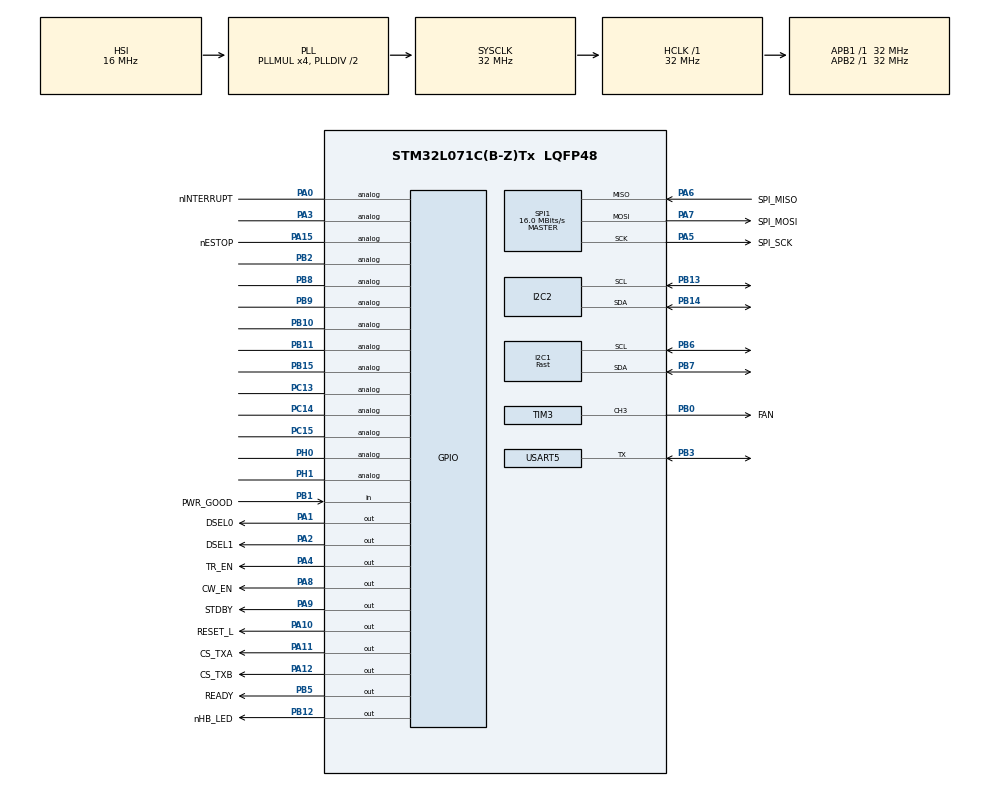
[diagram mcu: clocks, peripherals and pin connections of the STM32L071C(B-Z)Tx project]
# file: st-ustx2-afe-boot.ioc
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CRC.CRCLength=CRC_POLYLENGTH_16B
CRC.DefaultInitValueUse=DEFAULT_INIT_VALUE_DISABLE
CRC.DefaultPolynomialUse=DEFAULT_POLYNOMIAL_DISABLE
CRC.GeneratingPolynomial=X12+X5+X0
CRC.InitValue=0xFFFF
Dma.Request0=USART5_RX
Dma.Request1=USART5_TX
Dma.USART5_RX.0.Direction=DMA_PERIPH_TO_MEMORY
Dma.USART5_RX.0.Instance=DMA1_Channel2
Dma.USART5_RX.0.MemDataAlignment=DMA_MDATAALIGN_BYTE
Dma.USART5_RX.0.MemInc=DMA_MINC_ENABLE
Dma.USART5_RX.0.Mode=DMA_NORMAL
Dma.USART5_RX.0.PeriphDataAlignment=DMA_PDATAALIGN_BYTE
Dma.USART5_RX.0.PeriphInc=DMA_PINC_DISABLE
Dma.USART5_RX.0.Priority=DMA_PRIORITY_LOW
Dma.USART5_TX.1.Direction=DMA_MEMORY_TO_PERIPH
Dma.USART5_TX.1.Instance=DMA1_Channel3
Dma.USART5_TX.1.MemDataAlignment=DMA_MDATAALIGN_BYTE
Dma.USART5_TX.1.MemInc=DMA_MINC_ENABLE
Dma.USART5_TX.1.Mode=DMA_NORMAL
Dma.USART5_TX.1.PeriphDataAlignment=DMA_PDATAALIGN_BYTE
Dma.USART5_TX.1.PeriphInc=DMA_PINC_DISABLE
Dma.USART5_TX.1.Priority=DMA_PRIORITY_LOW
I2C1.GeneralCallMode=I2C_GENERALCALL_DISABLE
I2C1.I2C_Speed_Mode=I2C_Fast
I2C1.NoStretchMode=I2C_NOSTRETCH_ENABLE
I2C1.OwnAddress=0x34
I2C1.Timing=0x00300F38
I2C2.NoStretchMode=I2C_NOSTRETCH_ENABLE
I2C2.OwnAddress=0x32
I2C2.Timing=0x00707CBB
Mcu.Family=STM32L0
Mcu.Name=STM32L071C(B-Z)Tx
Mcu.Package=LQFP48
NVIC.DMA1_Channel2_3_IRQn=true\:0\:0\:false\:false\:true\:false\:true\:true
NVIC.I2C1_IRQn=true\:0\:0\:false\:false\:true\:true\:true\:true
NVIC.I2C2_IRQn=true\:0\:0\:false\:false\:true\:true\:true\:true
NVIC.TIM2_IRQn=true\:3\:0\:false\:false\:true\:false\:true\:true
NVIC.TimeBase=TIM2_IRQn
NVIC.TimeBaseIP=TIM2
NVIC.USART4_5_IRQn=true\:0\:0\:false\:false\:true\:true\:true\:true
PA0.GPIO_Label=nINTERRUPT
PA0.Signal=GPIO_Analog
PA1.GPIO_Label=DSEL0
PA1.Signal=GPIO_Output
PA10.GPIO_Label=RESET_L
PA10.Signal=GPIO_Output
PA11.GPIO_Label=CS_TXA
PA11.Signal=GPIO_Output
PA12.GPIO_Label=CS_TXB
PA12.Signal=GPIO_Output
PA13.Mode=Serial_Wire
PA13.Signal=SYS_SWDIO
PA14.Mode=Serial_Wire
PA14.Signal=SYS_SWCLK
PA15.GPIO_Label=nESTOP
PA15.Signal=GPIO_Analog
PA2.GPIO_Label=DSEL1
PA2.Signal=GPIO_Output
PA3.Signal=GPIO_Analog
PA4.GPIO_Label=TR_EN
PA4.Signal=GPIO_Output
PA5.GPIO_Label=SPI_SCK
PA5.Mode=Full_Duplex_Master
PA5.Signal=SPI1_SCK
PA6.GPIO_Label=SPI_MISO
PA6.Mode=Full_Duplex_Master
PA6.Signal=SPI1_MISO
PA7.GPIO_Label=SPI_MOSI
PA7.Mode=Full_Duplex_Master
PA7.Signal=SPI1_MOSI
PA8.GPIO_Label=CW_EN
PA8.Signal=GPIO_Output
PA9.GPIO_Label=STDBY
PA9.Signal=GPIO_Output
PB0.GPIO_Label=FAN
PB0.Signal=S_TIM3_CH3
PB1.GPIO_Label=PWR_GOOD
PB1.Signal=GPIO_Input
PB10.Signal=GPIO_Analog
PB11.Signal=GPIO_Analog
PB12.GPIO_Label=nHB_LED
PB12.Signal=GPIO_Output
PB13.Mode=I2C
PB13.Signal=I2C2_SCL
PB14.Mode=I2C
PB14.Signal=I2C2_SDA
PB15.Signal=GPIO_Analog
PB2.Signal=GPIO_Analog
PB3.Mode=Half_duplex(single_wire_mode)
PB3.Signal=USART5_TX
PB4.Signal=S_TIM22_CH1
PB5.GPIO_Label=READY
PB5.Signal=GPIO_Output
PB6.Mode=I2C
PB6.Signal=I2C1_SCL
PB7.Mode=I2C
PB7.Signal=I2C1_SDA
PB8.Signal=GPIO_Analog
PB9.Signal=GPIO_Analog
PC13.Signal=GPIO_Analog
PC14-OSC32_IN.Signal=GPIO_Analog
PC15-OSC32_OUT.Signal=GPIO_Analog
PH0-OSC_IN.Signal=GPIO_Analog
PH1-OSC_OUT.Signal=GPIO_Analog
ProjectManager.HeapSize=0x200
ProjectManager.StackSize=0x400
ProjectManager.TargetToolchain=STM32CubeIDE
RCC.AHBFreq_Value=32000000
RCC.APB1Freq_Value=32000000
RCC.APB1TimFreq_Value=32000000
RCC.APB2Freq_Value=32000000
RCC.APB2TimFreq_Value=32000000
RCC.HCLKFreq_Value=32000000
RCC.HSE_VALUE=8000000
RCC.HSI16_VALUE=16000000
RCC.HSI_VALUE=16000000
RCC.LSE_VALUE=32768
RCC.MSI_VALUE=2097000
RCC.PLLMUL=RCC_PLLMUL_4
RCC.SYSCLKFreq_VALUE=32000000
RCC.SYSCLKSource=RCC_SYSCLKSOURCE_PLLCLK
RCC.VCOOutputFreq_Value=64000000
SH.S_TIM22_CH1.0=TIM22_CH1
SH.S_TIM3_CH3.0=TIM3_CH3,PWM Generation3 CH3
SPI1.CalculateBaudRate=16.0 MBits/s
SPI1.Direction=SPI_DIRECTION_2LINES
SPI1.Mode=SPI_MODE_MASTER
SPI1.VirtualType=VM_MASTER
TIM3.Channel-PWM\ Generation3\ CH3=TIM_CHANNEL_3
USART5.VirtualMode-Half_duplex(single_wire_mode)=VM_ASYNC
VP_CRC_VS_CRC.Mode=CRC_Activate
VP_RTC_VS_RTC_Activate.Mode=RTC_Enabled
VP_SYS_VS_tim2.Mode=TIM2
VP_TIM21_VS_ClockSourceINT.Mode=Internal
board=custom

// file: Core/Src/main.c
/* USER CODE BEGIN Header */
/**
  ******************************************************************************
  * @file           : main.c
  * @brief          : Main program body
  ******************************************************************************
  * @attention
  *
  * Copyright (c) 2024 STMicroelectronics.
  * All rights reserved.
  *
  * This software is licensed under terms that can be found in the LICENSE file
  * in the root directory of this software component.
  * If no LICENSE file comes with this software, it is provided AS-IS.
  *
  ******************************************************************************
  */
/* USER CODE END Header */
#include "main.h"

/* USER CODE BEGIN Includes */
#include "memory_map.h"
#include "flash_eeprom.h"
#include "utils.h"
#include "i2c_slave.h"
#include "../../version.h"
#include <stdio.h>
#include <string.h>
#include <stdlib.h>

/* USER CODE END Includes */

/* USER CODE BEGIN PD */
#define SOFT_RESET_INDICATOR  	0xB00710AD

#ifdef __GNUC__
	/* With GCC/RAISONANCE, small printf (option LD Linker->Libraries->Small printf
		 set to 'Yes') calls __io_putchar() */
	#define PUTCHAR_PROTOTYPE int __io_putchar(int ch)
#else
	#define PUTCHAR_PROTOTYPE int fputc(int ch, FILE *f)
#endif /* __GNUC__ */

// Function pointer type for the application's reset vector

typedef  void (*pFunction)(void);
pFunction Jump_To_Application;
uint32_t JumpAddress;

/* USER CODE END PD */

CRC_HandleTypeDef hcrc;

I2C_HandleTypeDef hi2c1;
I2C_HandleTypeDef hi2c2;

RTC_HandleTypeDef hrtc;

SPI_HandleTypeDef hspi1;

TIM_HandleTypeDef htim3;
TIM_HandleTypeDef htim21;

UART_HandleTypeDef huart5;
DMA_HandleTypeDef hdma_usart5_rx;
DMA_HandleTypeDef hdma_usart5_tx;

void SystemClock_Config(void);
static void MX_GPIO_Init(void);
static void MX_DMA_Init(void);
static void MX_I2C2_Init(void);
static void MX_SPI1_Init(void);
static void MX_USART5_UART_Init(void);
static void MX_TIM3_Init(void);
static void MX_I2C1_Init(void);
static void MX_CRC_Init(void);
static void MX_TIM21_Init(void);
static void MX_RTC_Init(void);
/* USER CODE BEGIN PFP */

PUTCHAR_PROTOTYPE
{
	HAL_UART_Transmit(&huart5, (uint8_t *)&ch, 1, 0x0f);

  return ch;
}

void storeSoftResetIndicator() {
    HAL_PWR_EnableBkUpAccess();
    HAL_RTCEx_BKUPWrite(&hrtc, RTC_BKP_DR1, SOFT_RESET_INDICATOR);
}

void clearSoftResetIndicator() {
    HAL_PWR_EnableBkUpAccess();
    HAL_RTCEx_BKUPWrite(&hrtc, RTC_BKP_DR1, 0x0);
}

unsigned int readSoftResetIndicator() {
    return HAL_RTCEx_BKUPRead(&hrtc, RTC_BKP_DR1);
}

// Define a function to check if the application is valid
uint8_t IsApplicationValid(uint32_t address) {
    // Check if the first word of the application code is a valid stack pointer
    uint32_t stack_pointer = *(__IO uint32_t*) address;
    if (stack_pointer < SRAM_BASE_ADDRESS || stack_pointer > SRAM_BASE_ADDRESS + SRAM_SIZE) {
        return 0; // Invalid stack pointer
    }

    // Check if the second word of the application code is a valid reset handler address
    uint32_t reset_handler = *(__IO uint32_t*) (address + 4);
    if (reset_handler < FLASH_BASE || reset_handler > FLASH_BASE + FLASH_SIZE) {
        return 0; // Invalid reset handler address
    }

    return 1;
}

void boot_application() {

	printf("Booting Application ...\r\n");
	HAL_Delay(500);

	/* reset controllers and disable interrupts */
	HAL_CRC_DeInit(&hcrc);
	HAL_RTC_DeInit(&hrtc);
	HAL_I2C_DeInit(&hi2c1);
	HAL_I2C_DeInit(&hi2c2);
	HAL_SPI_DeInit(&hspi1);
	HAL_UART_DeInit(&huart5);
	HAL_TIM_Base_DeInit(&htim3);
	HAL_TIM_Base_DeInit(&htim21);
	HAL_RCC_DeInit();
	HAL_SuspendTick();

	SysTick->CTRL = 0;
	SysTick->LOAD = 0;
	SysTick->VAL = 0;

	__DSB();
	__ISB();

	/* Jump to user application */
	JumpAddress = *(__IO uint32_t*) (APPLICATION_ADDRESS + 4);
	Jump_To_Application = (pFunction) JumpAddress;

	/* Initialize user application's Stack Pointer */
	__set_MSP(*(__IO uint32_t*) APPLICATION_ADDRESS);
	Jump_To_Application();

}

/* USER CODE END PFP */

int main(void)
{

  /* USER CODE BEGIN 1 */
  uint32_t uid[3]; // Array to store the 96-bit UID
  uint8_t i2c_slave_address = 0x00;
  uint32_t sleep_time = 0x20;
  uint8_t boot_mode = 0;
  HAL_StatusTypeDef status = HAL_OK;

  /* USER CODE END 1 */

  /* MCU Configuration--------------------------------------------------------*/

  /* Reset of all peripherals, Initializes the Flash interface and the Systick. */
  HAL_Init();

  /* Configure the system clock */
  SystemClock_Config();

  /* Initialize all configured peripherals */
  MX_GPIO_Init();
  MX_DMA_Init();
  MX_I2C2_Init();
  MX_SPI1_Init();
  MX_USART5_UART_Init();
  MX_TIM3_Init();
  MX_I2C1_Init();
  MX_CRC_Init();
  MX_TIM21_Init();
  MX_RTC_Init();
  /* USER CODE BEGIN 2 */

  printf("\033c");
  printf("\r\n\r\nUSTX Boot-loader v%s\r\n", BOOTLOADER_VER);
  printf("CPU Clock Frequency: %lu MHz\r\n", HAL_RCC_GetSysClockFreq() / 1000000);
  // Get the unique ID
  get_unique_identifier(uid);
  sleep_time = fnv1a_32((uint8_t *)uid, sizeof(uid));
  sleep_time &= 0x000001FF;

  printf("Sleeping Random TIME: %lu ms\r\n", sleep_time);
  HAL_Delay(sleep_time);

  status = EEPROM_Read(0, &i2c_slave_address, 1);
  if(status != HAL_OK){
	Error_Handler();
  } else {
	    // Check if the read address is a valid I2C address (7-bit)
	    if ((i2c_slave_address >= 0x08 && i2c_slave_address <= 0x77) &&
	        ((i2c_slave_address & 0x01) == 0)) {
	        // Valid I2C address

	    } else {
	        // Not a valid I2C address, select a random address
	    	printf("I2C Address: 0x%02X NOT A Valid ADDRESS\r\n", i2c_slave_address);
	        srand(HAL_GetTick()); // Initialize random seed
	        i2c_slave_address = (rand() % (0x77 - 0x08 + 1)) + 0x08; // Generate random address
	        // Store the random address back to EEPROM
	        status = EEPROM_Write(0, &i2c_slave_address, 1);
	        if (status != HAL_OK) {
	            // Handle error
		    	printf("EEPROM_Write I2C Address ERROR\r\n");
	        }
	    }
  }

  printf("I2C Address: 0x%02X\r\n", i2c_slave_address);

  HAL_GPIO_WritePin(nHB_LED_GPIO_Port, nHB_LED_Pin, GPIO_PIN_SET);

  /* Test soft reset bootloader mode request */
  if(__HAL_RCC_GET_FLAG(RCC_FLAG_SFTRST))
  {
	    unsigned int reset_indicator = 0x0;
	  	reset_indicator = readSoftResetIndicator();
		printf("Reset Indicator: 0x%08X\r\n", reset_indicator);

		if(reset_indicator == SOFT_RESET_INDICATOR){
			boot_mode = 1;
			printf("Bootloader Mode Requested\r\n");
			clearSoftResetIndicator();
		}else{
			boot_mode = 0;
			printf("Bootloader Mode Not Requested\r\n");

		}

	    // Clear the soft reset flag
	    __HAL_RCC_CLEAR_RESET_FLAGS();

  }

  if(boot_mode == 0)
  {
		if(IsApplicationValid(APPLICATION_ADDRESS))
		{
			boot_application();
		}else{
			printf("No Valid Application found!\r\n");
			clearSoftResetIndicator();
		}
  }

  printf("Entering Bootloader Mode...\r\n");
  I2C_Slave_Init(i2c_slave_address);

  printf("<<<=== Bootloader Mode ACTIVE ===>>>\r\n");

  /* USER CODE END 2 */

  /* Infinite loop */
  while (1)
  {

    /* USER CODE BEGIN 3 */
	  HAL_GPIO_TogglePin(nHB_LED_GPIO_Port, nHB_LED_Pin);
	  HAL_Delay(500);
  }
  /* USER CODE END 3 */
}

void SystemClock_Config(void)
{
  RCC_OscInitTypeDef RCC_OscInitStruct = {0};
  RCC_ClkInitTypeDef RCC_ClkInitStruct = {0};
  RCC_PeriphCLKInitTypeDef PeriphClkInit = {0};

  /** Configure the main internal regulator output voltage
  */
  __HAL_PWR_VOLTAGESCALING_CONFIG(PWR_REGULATOR_VOLTAGE_SCALE1);

  /** Initializes the RCC Oscillators according to the specified parameters
  * in the RCC_OscInitTypeDef structure.
  */
  RCC_OscInitStruct.OscillatorType = RCC_OSCILLATORTYPE_HSI|RCC_OSCILLATORTYPE_LSI;
  RCC_OscInitStruct.HSIState = RCC_HSI_ON;
  RCC_OscInitStruct.HSICalibrationValue = RCC_HSICALIBRATION_DEFAULT;
  RCC_OscInitStruct.LSIState = RCC_LSI_ON;
  RCC_OscInitStruct.PLL.PLLState = RCC_PLL_ON;
  RCC_OscInitStruct.PLL.PLLSource = RCC_PLLSOURCE_HSI;
  RCC_OscInitStruct.PLL.PLLMUL = RCC_PLLMUL_4;
  RCC_OscInitStruct.PLL.PLLDIV = RCC_PLLDIV_2;
  if (HAL_RCC_OscConfig(&RCC_OscInitStruct) != HAL_OK)
  {
    Error_Handler();
  }

  /** Initializes the CPU, AHB and APB buses clocks
  */
  RCC_ClkInitStruct.ClockType = RCC_CLOCKTYPE_HCLK|RCC_CLOCKTYPE_SYSCLK
                              |RCC_CLOCKTYPE_PCLK1|RCC_CLOCKTYPE_PCLK2;
  RCC_ClkInitStruct.SYSCLKSource = RCC_SYSCLKSOURCE_PLLCLK;
  RCC_ClkInitStruct.AHBCLKDivider = RCC_SYSCLK_DIV1;
  RCC_ClkInitStruct.APB1CLKDivider = RCC_HCLK_DIV1;
  RCC_ClkInitStruct.APB2CLKDivider = RCC_HCLK_DIV1;

  if (HAL_RCC_ClockConfig(&RCC_ClkInitStruct, FLASH_LATENCY_1) != HAL_OK)
  {
    Error_Handler();
  }
  PeriphClkInit.PeriphClockSelection = RCC_PERIPHCLK_I2C1|RCC_PERIPHCLK_RTC;
  PeriphClkInit.I2c1ClockSelection = RCC_I2C1CLKSOURCE_PCLK1;
  PeriphClkInit.RTCClockSelection = RCC_RTCCLKSOURCE_LSI;
  if (HAL_RCCEx_PeriphCLKConfig(&PeriphClkInit) != HAL_OK)
  {
    Error_Handler();
  }
}

static void MX_CRC_Init(void)
{

  hcrc.Instance = CRC;
  hcrc.Init.DefaultPolynomialUse = DEFAULT_POLYNOMIAL_DISABLE;
  hcrc.Init.DefaultInitValueUse = DEFAULT_INIT_VALUE_DISABLE;
  hcrc.Init.GeneratingPolynomial = 4129;
  hcrc.Init.CRCLength = CRC_POLYLENGTH_16B;
  hcrc.Init.InitValue = 0xFFFF;
  hcrc.Init.InputDataInversionMode = CRC_INPUTDATA_INVERSION_NONE;
  hcrc.Init.OutputDataInversionMode = CRC_OUTPUTDATA_INVERSION_DISABLE;
  hcrc.InputDataFormat = CRC_INPUTDATA_FORMAT_BYTES;
  if (HAL_CRC_Init(&hcrc) != HAL_OK)
  {
    Error_Handler();
  }

}

static void MX_I2C1_Init(void)
{

  hi2c1.Instance = I2C1;
  hi2c1.Init.Timing = 0x00300F38;
  hi2c1.Init.OwnAddress1 = 104;
  hi2c1.Init.AddressingMode = I2C_ADDRESSINGMODE_7BIT;
  hi2c1.Init.DualAddressMode = I2C_DUALADDRESS_DISABLE;
  hi2c1.Init.OwnAddress2 = 0;
  hi2c1.Init.OwnAddress2Masks = I2C_OA2_NOMASK;
  hi2c1.Init.GeneralCallMode = I2C_GENERALCALL_DISABLE;
  hi2c1.Init.NoStretchMode = I2C_NOSTRETCH_ENABLE;
  if (HAL_I2C_Init(&hi2c1) != HAL_OK)
  {
    Error_Handler();
  }

  /** Configure Analogue filter
  */
  if (HAL_I2CEx_ConfigAnalogFilter(&hi2c1, I2C_ANALOGFILTER_ENABLE) != HAL_OK)
  {
    Error_Handler();
  }

  /** Configure Digital filter
  */
  if (HAL_I2CEx_ConfigDigitalFilter(&hi2c1, 0) != HAL_OK)
  {
    Error_Handler();
  }

}

static void MX_I2C2_Init(void)
{

  hi2c2.Instance = I2C2;
  hi2c2.Init.Timing = 0x00707CBB;
  hi2c2.Init.OwnAddress1 = 100;
  hi2c2.Init.AddressingMode = I2C_ADDRESSINGMODE_7BIT;
  hi2c2.Init.DualAddressMode = I2C_DUALADDRESS_DISABLE;
  hi2c2.Init.OwnAddress2 = 0;
  hi2c2.Init.OwnAddress2Masks = I2C_OA2_NOMASK;
  hi2c2.Init.GeneralCallMode = I2C_GENERALCALL_DISABLE;
  hi2c2.Init.NoStretchMode = I2C_NOSTRETCH_ENABLE;
  if (HAL_I2C_Init(&hi2c2) != HAL_OK)
  {
    Error_Handler();
  }

  /** Configure Analogue filter
  */
  if (HAL_I2CEx_ConfigAnalogFilter(&hi2c2, I2C_ANALOGFILTER_ENABLE) != HAL_OK)
  {
    Error_Handler();
  }

  /** Configure Digital filter
  */
  if (HAL_I2CEx_ConfigDigitalFilter(&hi2c2, 0) != HAL_OK)
  {
    Error_Handler();
  }

}

static void MX_RTC_Init(void)
{

  /** Initialize RTC Only
  */
  hrtc.Instance = RTC;
  hrtc.Init.HourFormat = RTC_HOURFORMAT_24;
  hrtc.Init.AsynchPrediv = 127;
  hrtc.Init.SynchPrediv = 255;
  hrtc.Init.OutPut = RTC_OUTPUT_DISABLE;
  hrtc.Init.OutPutRemap = RTC_OUTPUT_REMAP_NONE;
  hrtc.Init.OutPutPolarity = RTC_OUTPUT_POLARITY_HIGH;
  hrtc.Init.OutPutType = RTC_OUTPUT_TYPE_OPENDRAIN;
  if (HAL_RTC_Init(&hrtc) != HAL_OK)
  {
    Error_Handler();
  }

}

static void MX_SPI1_Init(void)
{

  /* SPI1 parameter configuration*/
  hspi1.Instance = SPI1;
  hspi1.Init.Mode = SPI_MODE_MASTER;
  hspi1.Init.Direction = SPI_DIRECTION_2LINES;
  hspi1.Init.DataSize = SPI_DATASIZE_8BIT;
  hspi1.Init.CLKPolarity = SPI_POLARITY_LOW;
  hspi1.Init.CLKPhase = SPI_PHASE_1EDGE;
  hspi1.Init.NSS = SPI_NSS_SOFT;
  hspi1.Init.BaudRatePrescaler = SPI_BAUDRATEPRESCALER_2;
  hspi1.Init.FirstBit = SPI_FIRSTBIT_MSB;
  hspi1.Init.TIMode = SPI_TIMODE_DISABLE;
  hspi1.Init.CRCCalculation = SPI_CRCCALCULATION_DISABLE;
  hspi1.Init.CRCPolynomial = 7;
  if (HAL_SPI_Init(&hspi1) != HAL_OK)
  {
    Error_Handler();
  }

}

static void MX_TIM3_Init(void)
{

  TIM_MasterConfigTypeDef sMasterConfig = {0};
  TIM_OC_InitTypeDef sConfigOC = {0};

  htim3.Instance = TIM3;
  htim3.Init.Prescaler = 0;
  htim3.Init.CounterMode = TIM_COUNTERMODE_UP;
  htim3.Init.Period = 65535;
  htim3.Init.ClockDivision = TIM_CLOCKDIVISION_DIV1;
  htim3.Init.AutoReloadPreload = TIM_AUTORELOAD_PRELOAD_DISABLE;
  if (HAL_TIM_PWM_Init(&htim3) != HAL_OK)
  {
    Error_Handler();
  }
  sMasterConfig.MasterOutputTrigger = TIM_TRGO_RESET;
  sMasterConfig.MasterSlaveMode = TIM_MASTERSLAVEMODE_DISABLE;
  if (HAL_TIMEx_MasterConfigSynchronization(&htim3, &sMasterConfig) != HAL_OK)
  {
    Error_Handler();
  }
  sConfigOC.OCMode = TIM_OCMODE_PWM1;
  sConfigOC.Pulse = 0;
  sConfigOC.OCPolarity = TIM_OCPOLARITY_HIGH;
  sConfigOC.OCFastMode = TIM_OCFAST_DISABLE;
  if (HAL_TIM_PWM_ConfigChannel(&htim3, &sConfigOC, TIM_CHANNEL_3) != HAL_OK)
  {
    Error_Handler();
  }
  HAL_TIM_MspPostInit(&htim3);

}

static void MX_TIM21_Init(void)
{

  TIM_ClockConfigTypeDef sClockSourceConfig = {0};
  TIM_MasterConfigTypeDef sMasterConfig = {0};

  htim21.Instance = TIM21;
  htim21.Init.Prescaler = 0;
  htim21.Init.CounterMode = TIM_COUNTERMODE_UP;
  htim21.Init.Period = 65535;
  htim21.Init.ClockDivision = TIM_CLOCKDIVISION_DIV1;
  htim21.Init.AutoReloadPreload = TIM_AUTORELOAD_PRELOAD_DISABLE;
  if (HAL_TIM_Base_Init(&htim21) != HAL_OK)
  {
    Error_Handler();
  }
  sClockSourceConfig.ClockSource = TIM_CLOCKSOURCE_INTERNAL;
  if (HAL_TIM_ConfigClockSource(&htim21, &sClockSourceConfig) != HAL_OK)
  {
    Error_Handler();
  }
  sMasterConfig.MasterOutputTrigger = TIM_TRGO_RESET;
  sMasterConfig.MasterSlaveMode = TIM_MASTERSLAVEMODE_DISABLE;
  if (HAL_TIMEx_MasterConfigSynchronization(&htim21, &sMasterConfig) != HAL_OK)
  {
    Error_Handler();
  }

}

static void MX_USART5_UART_Init(void)
{

  huart5.Instance = USART5;
  huart5.Init.BaudRate = 115200;
  huart5.Init.WordLength = UART_WORDLENGTH_8B;
  huart5.Init.StopBits = UART_STOPBITS_1;
  huart5.Init.Parity = UART_PARITY_NONE;
  huart5.Init.Mode = UART_MODE_TX_RX;
  huart5.Init.HwFlowCtl = UART_HWCONTROL_NONE;
  huart5.Init.OverSampling = UART_OVERSAMPLING_16;
  huart5.Init.OneBitSampling = UART_ONE_BIT_SAMPLE_DISABLE;
  huart5.AdvancedInit.AdvFeatureInit = UART_ADVFEATURE_NO_INIT;
  if (HAL_HalfDuplex_Init(&huart5) != HAL_OK)
  {
    Error_Handler();
  }

}

static void MX_DMA_Init(void)
{

  /* DMA controller clock enable */
  __HAL_RCC_DMA1_CLK_ENABLE();

  /* DMA interrupt init */
  /* DMA1_Channel2_3_IRQn interrupt configuration */
  HAL_NVIC_SetPriority(DMA1_Channel2_3_IRQn, 0, 0);
  HAL_NVIC_EnableIRQ(DMA1_Channel2_3_IRQn);

}

static void MX_GPIO_Init(void)
{
  GPIO_InitTypeDef GPIO_InitStruct = {0};

  /* GPIO Ports Clock Enable */
  __HAL_RCC_GPIOC_CLK_ENABLE();
  __HAL_RCC_GPIOH_CLK_ENABLE();
  __HAL_RCC_GPIOA_CLK_ENABLE();
  __HAL_RCC_GPIOB_CLK_ENABLE();

  /*Configure GPIO pin Output Level */
  HAL_GPIO_WritePin(GPIOA, DSEL0_Pin|DSEL1_Pin|TR_EN_Pin|CW_EN_Pin
                          |STDBY_Pin|RESET_L_Pin|CS_TXA_Pin|CS_TXB_Pin, GPIO_PIN_RESET);

  /*Configure GPIO pin Output Level */
  HAL_GPIO_WritePin(GPIOB, nHB_LED_Pin|READY_Pin, GPIO_PIN_RESET);

  /*Configure GPIO pins : PC13 PC14 PC15 */
  GPIO_InitStruct.Pin = GPIO_PIN_13|GPIO_PIN_14|GPIO_PIN_15;
  GPIO_InitStruct.Mode = GPIO_MODE_ANALOG;
  GPIO_InitStruct.Pull = GPIO_NOPULL;
  HAL_GPIO_Init(GPIOC, &GPIO_InitStruct);

  /*Configure GPIO pins : PH0 PH1 */
  GPIO_InitStruct.Pin = GPIO_PIN_0|GPIO_PIN_1;
  GPIO_InitStruct.Mode = GPIO_MODE_ANALOG;
  GPIO_InitStruct.Pull = GPIO_NOPULL;
  HAL_GPIO_Init(GPIOH, &GPIO_InitStruct);

  /*Configure GPIO pins : nINTERRUPT_Pin PA3 nESTOP_Pin */
  GPIO_InitStruct.Pin = nINTERRUPT_Pin|GPIO_PIN_3|nESTOP_Pin;
  GPIO_InitStruct.Mode = GPIO_MODE_ANALOG;
  GPIO_InitStruct.Pull = GPIO_NOPULL;
  HAL_GPIO_Init(GPIOA, &GPIO_InitStruct);

  /*Configure GPIO pins : DSEL0_Pin DSEL1_Pin TR_EN_Pin CW_EN_Pin
                           STDBY_Pin RESET_L_Pin CS_TXA_Pin CS_TXB_Pin */
  GPIO_InitStruct.Pin = DSEL0_Pin|DSEL1_Pin|TR_EN_Pin|CW_EN_Pin
                          |STDBY_Pin|RESET_L_Pin|CS_TXA_Pin|CS_TXB_Pin;
  GPIO_InitStruct.Mode = GPIO_MODE_OUTPUT_PP;
  GPIO_InitStruct.Pull = GPIO_NOPULL;
  GPIO_InitStruct.Speed = GPIO_SPEED_FREQ_LOW;
  HAL_GPIO_Init(GPIOA, &GPIO_InitStruct);

  /*Configure GPIO pin : PWR_GOOD_Pin */
  GPIO_InitStruct.Pin = PWR_GOOD_Pin;
  GPIO_InitStruct.Mode = GPIO_MODE_INPUT;
  GPIO_InitStruct.Pull = GPIO_NOPULL;
  HAL_GPIO_Init(PWR_GOOD_GPIO_Port, &GPIO_InitStruct);

  /*Configure GPIO pins : PB2 PB10 PB11 PB15
                           PB8 PB9 */
  GPIO_InitStruct.Pin = GPIO_PIN_2|GPIO_PIN_10|GPIO_PIN_11|GPIO_PIN_15
                          |GPIO_PIN_8|GPIO_PIN_9;
  GPIO_InitStruct.Mode = GPIO_MODE_ANALOG;
  GPIO_InitStruct.Pull = GPIO_NOPULL;
  HAL_GPIO_Init(GPIOB, &GPIO_InitStruct);

  /*Configure GPIO pins : nHB_LED_Pin READY_Pin */
  GPIO_InitStruct.Pin = nHB_LED_Pin|READY_Pin;
  GPIO_InitStruct.Mode = GPIO_MODE_OUTPUT_PP;
  GPIO_InitStruct.Pull = GPIO_NOPULL;
  GPIO_InitStruct.Speed = GPIO_SPEED_FREQ_LOW;
  HAL_GPIO_Init(GPIOB, &GPIO_InitStruct);

  /*Configure GPIO pin : PB4 */
  GPIO_InitStruct.Pin = GPIO_PIN_4;
  GPIO_InitStruct.Mode = GPIO_MODE_AF_PP;
  GPIO_InitStruct.Pull = GPIO_NOPULL;
  GPIO_InitStruct.Speed = GPIO_SPEED_FREQ_LOW;
  GPIO_InitStruct.Alternate = GPIO_AF4_TIM22;
  HAL_GPIO_Init(GPIOB, &GPIO_InitStruct);

}

void HAL_TIM_PeriodElapsedCallback(TIM_HandleTypeDef *htim)
{
  if (htim->Instance == TIM2) {
    HAL_IncTick();
  }
}

void Error_Handler(void)
{
  /* USER CODE BEGIN Error_Handler_Debug */
  /* User can add his own implementation to report the HAL error return state */

  HAL_GPIO_WritePin(nHB_LED_GPIO_Port, nHB_LED_Pin, GPIO_PIN_RESET);
  printf("Error_Handler");
  __disable_irq();
  while (1)
  {
  }
  /* USER CODE END Error_Handler_Debug */
}
